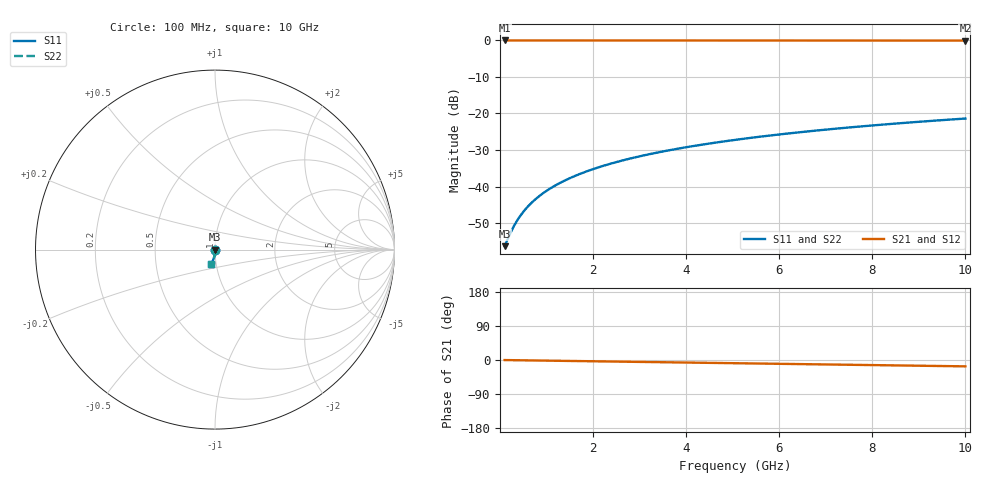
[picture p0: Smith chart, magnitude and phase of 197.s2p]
# Hz S RI R 50.00
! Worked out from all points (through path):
!   100 points, 100 MHz to 10 GHz, reference 50 ohm
!   highest |S21| = -0.01 dB at 100 MHz (marker M1); lowest = 0.0 dB at 10 GHz (marker M2)
!   group delay of S21, straight-line fit = 4.66 ps
!   lowest |S11| = -56.3 dB at 100 MHz (marker M3), VSWR 1.00, Z = 50.1 - j0.0868 ohm
!   |S11| at or under -10 dB: start of sweep to end of sweep
!   |S22| runs from -56.3 to -21.4 dB; largest |S21 - S12| = 0
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1e8  0.00126 -0.000866  0.9987 -0.00292  0.9987 -0.00292  0.00126 -0.000866
2e8  0.00125 -0.00173  0.9987 -0.00584  0.9987 -0.00584  0.00125 -0.00173
3e8  0.00125 -0.0026  0.9987 -0.00876  0.9987 -0.00876  0.00125 -0.0026
4e8  0.00123 -0.00346  0.9986 -0.0117  0.9986 -0.0117  0.00123 -0.00346
5e8  0.00121 -0.00433  0.9986 -0.0146  0.9986 -0.0146  0.00121 -0.00433
6e8  0.00119 -0.0052  0.9985 -0.0175  0.9985 -0.0175  0.00119 -0.0052
7e8  0.00115 -0.00606  0.9985 -0.0204  0.9985 -0.0204  0.00115 -0.00606
9e8  0.00108 -0.00779  0.9983 -0.0263  0.9983 -0.0263  0.00108 -0.00779
1e9  0.00103 -0.00866  0.9982 -0.0292  0.9982 -0.0292  0.00103 -0.00866
1.2e9  0.00092 -0.0104  0.998 -0.035  0.998 -0.035  0.00092 -0.0104
1.5e9  0.000717 -0.013  0.9976 -0.0438  0.9976 -0.0438  0.000717 -0.013
1.8e9  0.000468 -0.0156  0.9971 -0.0526  0.9971 -0.0526  0.000468 -0.0156
2.1e9  0.000173 -0.0181  0.9966 -0.0613  0.9966 -0.0613  0.000173 -0.0181
2.5e9  -0.000291 -0.0216  0.9957 -0.073  0.9957 -0.073  -0.000291 -0.0216
2.9e9  -0.000836 -0.025  0.9947 -0.0846  0.9947 -0.0846  -0.000836 -0.025
3.4e9  -0.00163 -0.0293  0.9932 -0.0991  0.9932 -0.0991  -0.00163 -0.0293
4.2e9  -0.00316 -0.036  0.9904 -0.1223  0.9904 -0.1223  -0.00316 -0.036
5.1e9  -0.00526 -0.0436  0.9865 -0.1483  0.9865 -0.1483  -0.00526 -0.0436
5.9e9  -0.00745 -0.0502  0.9824 -0.1713  0.9824 -0.1713  -0.00745 -0.0502
6.7e9  -0.00995 -0.0566  0.9777 -0.1942  0.9777 -0.1942  -0.00995 -0.0566
8.4e9  -0.0163 -0.07  0.9659 -0.2424  0.9659 -0.2424  -0.0163 -0.07
1e10  -0.0234 -0.082  0.9524 -0.287  0.9524 -0.287  -0.0234 -0.082
